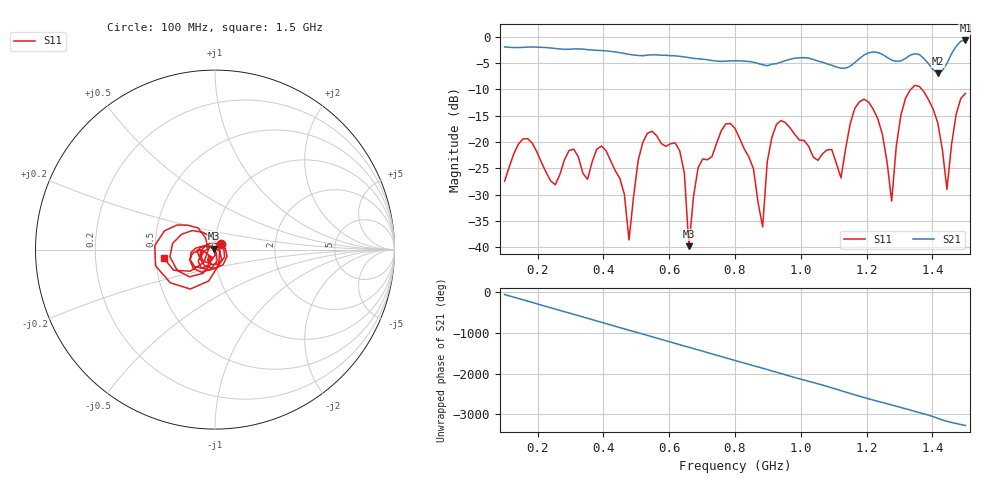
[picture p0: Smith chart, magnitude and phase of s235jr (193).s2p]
! NanoVNA-App
! Date: 2025-09-25 15:05:40
! Start: 100MHz Stop: 1,5GHz Points: 101
! S-Parameter data: F S11 S21 S12 S22
# Hz S RI R 50
!  Frequency  S11_Real  S11_Imag  S21_Real  S21_Imag  S12_Real  S12_Imag  S22_Real  S22_Imag
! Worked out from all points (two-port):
!   101 points, 100 MHz to 1.5 GHz, reference 50 ohm
!   highest |S21| = -0.74 dB at 1.5 GHz (marker M1); lowest = -7.0 dB at 1.416 GHz (marker M2)
!   |S21| within 3 dB of the highest: start of sweep to 631.6 MHz; 1.187 GHz to 1.257 GHz (69.59 MHz wide, 5.7 % of centre) (the widest 2 of 4)
!   lowest |S11| = -39.8 dB at 660 MHz (marker M3), VSWR 1.02, Z = 49.2 + j0.584 ohm
!   |S11| at or under -10 dB: start of sweep to 1.335 GHz; 1.368 GHz to end of sweep
!   S12 and S22 are empty: the file has one direction only
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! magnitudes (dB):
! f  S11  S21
! 100 MHz  -27.5  -2.0
! 156 MHz  -19.4  -2.1
! 338 MHz  -26.0  -2.4
! 408 MHz  -21.6  -2.7
! 478 MHz  -38.6  -3.4
! 520 MHz  -20.1  -3.6
! 576 MHz  -20.3  -3.5
! 632 MHz  -21.7  -3.7
! 660 MHz  -39.8  -4.0
! 688 MHz  -24.9  -4.2
! 800 MHz  -17.4  -4.6
! 884 MHz  -36.2  -5.3
! 926 MHz  -16.7  -5.1
! 1.038 GHz  -22.9  -4.4
! 1.122 GHz  -26.8  -6.0
! 1.192 GHz  -11.9  -3.5
! 1.248 GHz  -18.6  -3.4
! 1.276 GHz  -31.2  -4.5
! 1.332 GHz  -10.2  -3.5
! 1.416 GHz  -16.4  -7.0
! 1.444 GHz  -29.0  -5.1
! 1.5 GHz  -10.8  -0.7
